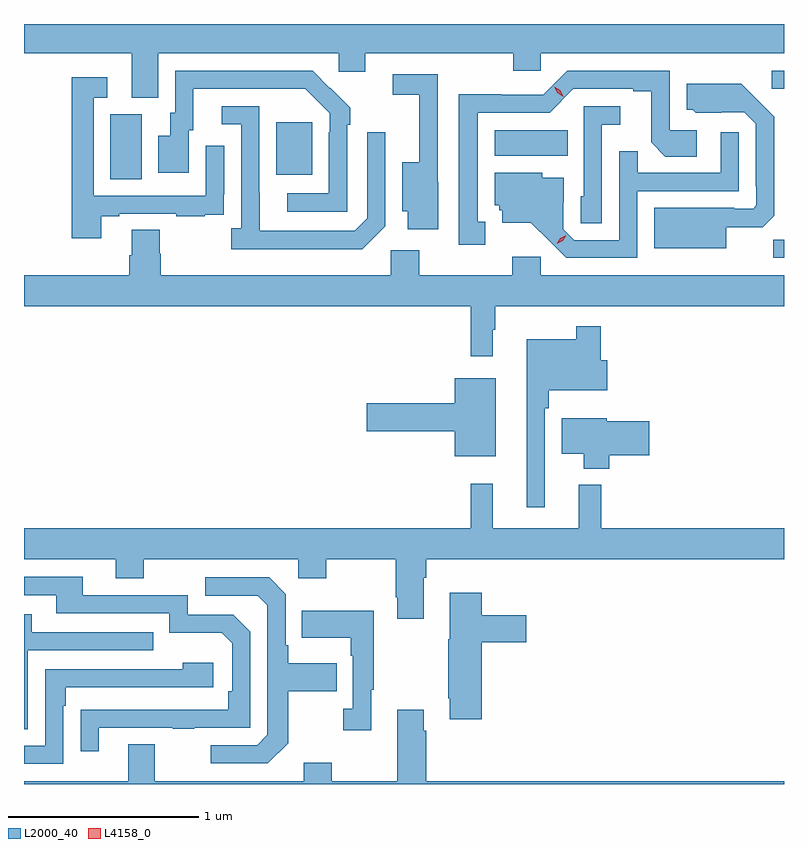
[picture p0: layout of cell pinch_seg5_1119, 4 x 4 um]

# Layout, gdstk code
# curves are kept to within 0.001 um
import gdstk
lib = gdstk.Library(unit=1e-6, precision=1e-09)
def R(c, l, rs):  # rectangles x0, y0, x1, y1
    for r in rs: c.add(gdstk.rectangle(r[:2], r[2:], *l))
def P(c, l, *ps):  # polygons
    for p in ps: c.add(gdstk.Polygon(p, *l))
L2000_40 = (2000, 40)
L4158_0 = (4158, 0)

pinch_seg5_1119 = lib.new_cell('pinch_seg5_1119')
R(pinch_seg5_1119, L2000_40, [(770.428,839.7,770.485,839.795), (766.94,840.112,767.104,840.456), (767.813,840.137,768.001,840.412), (768.962,840.236,769.346,840.37), (770.421,840.588,770.485,840.684)])
P(pinch_seg5_1119, L2000_40, [(767.191,840.776),(768.141,840.776),(768.141,840.678),(768.28,840.678),(768.28,840.776),(769.06,840.776),(769.06,840.683),(769.206,840.683),(769.206,840.776),(770.485,840.776),(770.485,840.93),(766.485,840.93),(766.485,840.776),(767.051,840.776),(767.051,840.541),(767.191,840.541)],
  [(768.913,839.889),(768.874,839.889),(768.874,840.462),(769.251,840.462),(769.377,840.588),(769.691,840.588),(769.691,840.576),(769.785,840.576),(769.785,840.308),(769.861,840.232),(770.026,840.232),(770.026,840.372),(769.884,840.372),(769.884,840.684),(769.344,840.684),(769.218,840.558),(768.996,840.558),(768.996,840.56),(768.773,840.56),(768.773,839.769),(768.913,839.769)],
  [(768.186,840.401),(768.201,840.401),(768.201,840.489),(768.004,840.684),(767.28,840.684),(767.28,840.462),(767.255,840.462),(767.255,840.343),(767.192,840.343),(767.192,840.147),(767.353,840.147),(767.353,840.372),(767.377,840.372),(767.377,840.588),(767.965,840.588),(768.093,840.459),(768.093,840.359),(768.09,840.359),(768.09,840.039),(767.871,840.039),(767.871,839.943),(768.186,839.943)],
  [(768.664,840.098),(768.663,840.098),(768.663,840.666),(768.426,840.666),(768.426,840.558),(768.566,840.558),(768.566,840.202),(768.476,840.202),(768.476,839.945),(768.506,839.945),(768.506,839.85),(768.664,839.85)],
  [(766.891,839.919),(766.987,839.919),(766.987,839.931),(767.287,839.931),(767.287,839.919),(767.435,839.919),(767.435,839.925),(767.537,839.925),(767.537,840.034),(767.538,840.034),(767.538,840.289),(767.442,840.289),(767.442,840.027),(766.851,840.027),(766.851,840.543),(766.924,840.543),(766.924,840.649),(766.735,840.649),(766.735,839.802),(766.891,839.802)],
  [(770.182,839.861),(770.374,839.861),(770.433,839.92),(770.433,840.442),(770.261,840.616),(769.973,840.616),(769.973,840.48),(770.004,840.48),(770.02,840.464),(770.277,840.465),(770.337,840.405),(770.337,840.076),(770.34,840.076),(770.34,839.976),(770.322,839.958),(770.222,839.958),(770.222,839.962),(769.802,839.962),(769.802,839.75),(770.182,839.75)],
  [(769.527,840.401),(769.624,840.401),(769.624,840.498),(769.431,840.498),(769.431,840.024),(769.416,840.024),(769.416,839.881),(769.527,839.881)],
  [(768.387,839.865),(768.387,840.361),(768.291,840.361),(768.291,839.907),(768.225,839.841),(767.725,839.841),(767.724,840.498),(767.526,840.498),(767.526,840.402),(767.628,840.402),(767.628,839.854),(767.577,839.854),(767.577,839.744),(768.266,839.744)],
  [(769.713,840.051),(770.247,840.051),(770.247,840.361),(770.151,840.361),(770.151,840.147),(769.715,840.147),(769.715,840.26),(769.617,840.26),(769.617,839.793),(769.38,839.793),(769.323,839.85),(769.323,839.992),(769.327,839.992),(769.327,840.121),(769.212,840.121),(769.212,840.148),(768.962,840.148),(768.962,839.976),(768.987,839.976),(768.987,839.949),(769.001,839.949),(769.001,839.885),(769.153,839.885),(769.34,839.7),(769.713,839.7)],
  [(770.485,839.608),(769.206,839.608),(769.206,839.704),(769.055,839.704),(769.055,839.608),(768.566,839.608),(768.566,839.74),(768.414,839.74),(768.414,839.608),(767.204,839.608),(767.204,839.721),(767.199,839.721),(767.199,839.846),(767.051,839.846),(767.051,839.714),(767.039,839.714),(767.039,839.608),(766.485,839.608),(766.485,839.444),(768.835,839.444),(768.835,839.181),(768.952,839.181),(768.952,839.321),(768.964,839.321),(768.964,839.444),(770.485,839.444)],
  [(769.227,838.907),(769.247,838.907),(769.247,839.003),(769.555,839.003),(769.555,839.161),(769.52,839.161),(769.52,839.338),(769.392,839.338),(769.392,839.272),(769.13,839.272),(769.13,838.386),(769.227,838.386)],
  [(768.967,839.065),(768.752,839.065),(768.752,838.934),(768.288,838.934),(768.288,838.787),(768.752,838.787),(768.752,838.655),(768.967,838.655)],
  [(769.565,838.66),(769.777,838.66),(769.777,838.838),(769.552,838.838),(769.552,838.855),(769.316,838.855),(769.316,838.667),(769.43,838.667),(769.43,838.589),(769.565,838.589)],
  [(768.589,838.016),(768.602,838.016),(768.602,838.112),(770.485,838.112),(770.485,838.276),(769.523,838.276),(769.523,838.504),(769.406,838.504),(769.406,838.276),(768.953,838.276),(768.953,838.51),(768.835,838.51),(768.835,838.276),(766.485,838.276),(766.485,838.112),(766.967,838.112),(766.967,838.013),(767.115,838.013),(767.115,838.112),(767.928,838.112),(767.928,838.013),(768.075,838.013),(768.075,838.112),(768.442,838.112),(768.442,837.913),(768.449,837.913),(768.449,837.801),(768.589,837.801)],
  [(766.879,837.225),(767.269,837.225),(767.269,837.22),(767.381,837.22),(767.381,837.225),(767.676,837.225),(767.676,837.732),(767.586,837.822),(767.346,837.822),(767.346,837.924),(766.795,837.924),(766.795,838.02),(766.485,838.02),(766.485,837.924),(766.655,837.924),(766.655,837.828),(767.25,837.828),(767.25,837.725),(767.527,837.725),(767.58,837.672),(767.58,837.418),(767.56,837.418),(767.56,837.321),(766.783,837.32),(766.783,837.102),(766.879,837.102)],
  [(767.875,837.145),(767.875,837.418),(768.131,837.418),(768.131,837.565),(767.875,837.565),(767.875,837.661),(767.862,837.661),(767.862,837.93),(767.775,838.017),(767.439,838.017),(767.439,837.921),(767.715,837.921),(767.766,837.87),(767.766,837.189),(767.712,837.135),(767.469,837.135),(767.469,837.039),(767.769,837.039)],
  [(768.893,837.677),(769.129,837.677),(769.129,837.819),(768.893,837.819),(768.893,837.937),(768.725,837.937),(768.725,837.693),(768.718,837.693),(768.718,837.382),(768.725,837.382),(768.725,837.27),(768.893,837.27)],
  [(768.313,837.425),(768.325,837.425),(768.325,837.841),(767.947,837.841),(767.947,837.701),(768.204,837.701),(768.204,837.605),(768.216,837.605),(768.216,837.326),(768.165,837.326),(768.165,837.213),(768.313,837.213)],
  [(766.506,837.633),(767.165,837.633),(767.165,837.729),(766.525,837.729),(766.525,837.823),(766.485,837.823),(766.485,837.217),(766.506,837.217)],
  [(766.692,837.341),(766.705,837.341),(766.705,837.438),(767.482,837.438),(767.482,837.568),(767.321,837.568),(767.321,837.534),(766.596,837.534),(766.596,837.132),(766.485,837.132),(766.485,837.036),(766.692,837.036)],
  [(770.485,836.944),(768.602,836.944),(768.602,837.209),(768.589,837.209),(768.589,837.322),(768.449,837.322),(768.449,836.944),(768.105,836.944),(768.105,837.043),(767.957,837.043),(767.957,836.944),(767.173,836.944),(767.173,837.139),(767.033,837.139),(767.033,836.944),(766.485,836.944),(766.485,836.93),(770.485,836.93)])
P(pinch_seg5_1119, L4158_0, [(769.29,839.773),(769.29,839.774),(769.307,839.803),(769.338,839.818),(769.338,839.818),(769.338,839.818),(769.321,839.788),(769.29,839.773)],
  [(769.324,840.548),(769.292,840.568),(769.275,840.601),(769.275,840.601),(769.276,840.601),(769.307,840.581),(769.324,840.548),(769.324,840.548)])

lib.write_gds('pinch_seg5_1119.gds')
